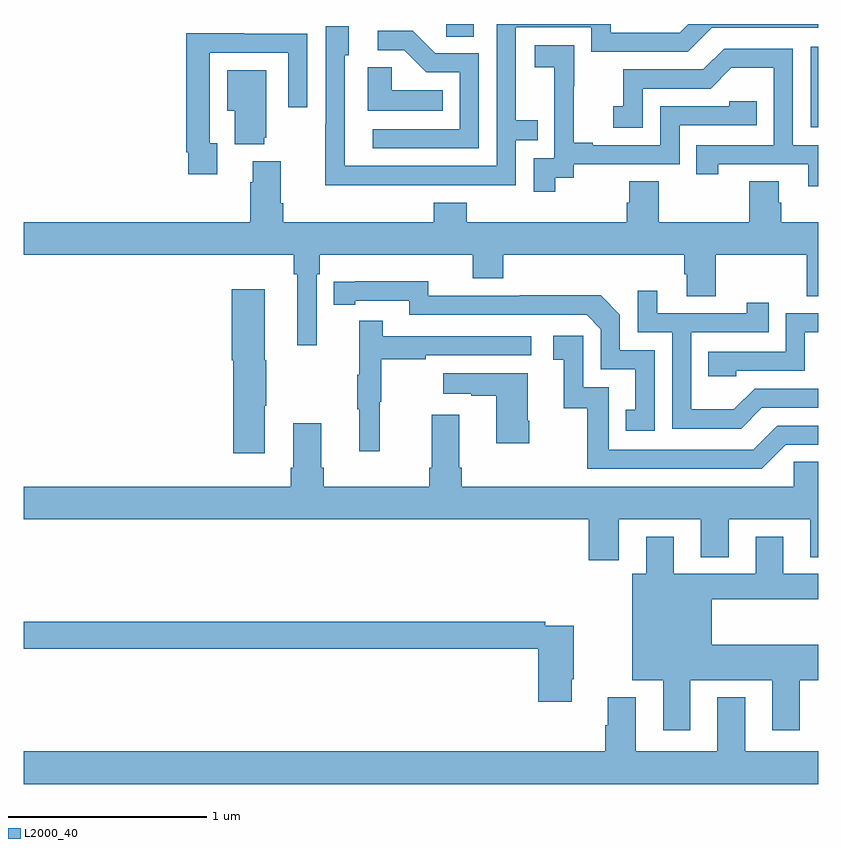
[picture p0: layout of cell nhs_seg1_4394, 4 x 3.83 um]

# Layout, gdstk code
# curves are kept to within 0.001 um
import gdstk
lib = gdstk.Library(unit=1e-6, precision=1e-09)
def R(c, l, rs):  # rectangles x0, y0, x1, y1
    for r in rs: c.add(gdstk.rectangle(r[:2], r[2:], *l))
def P(c, l, *ps):  # polygons
    for p in ps: c.add(gdstk.Polygon(p, *l))
L2000_40 = (2000, 40)

nhs_seg1_4394 = lib.new_cell('nhs_seg1_4394')
R(nhs_seg1_4394, L2000_40, [(352.962,581.679,353,582.085), (351.126,582.136,351.265,582.199)])
P(nhs_seg1_4394, L2000_40, [(350.981,581.388),(351.477,581.388),(351.477,581.613),(351.587,581.613),(351.587,581.714),(351.477,581.714),(351.477,582.183),(351.858,582.183),(351.858,582.06),(352.344,582.06),(352.464,582.18),(353,582.18),(353,582.199),(352.345,582.199),(352.302,582.156),(351.955,582.156),(351.955,582.199),(351.381,582.199),(351.381,581.484),(350.616,581.484),(350.616,582.042),(350.635,582.042),(350.635,582.187),(350.52,582.187),(350.52,581.693),(350.518,581.693),(350.518,581.387)],
  [(351.291,582.051),(351.072,582.051),(350.959,582.164),(350.781,582.164),(350.781,582.066),(350.915,582.066),(351.026,581.955),(351.195,581.955),(351.195,581.67),(350.757,581.67),(350.757,581.574),(351.291,581.574)],
  [(349.975,581.598),(349.935,581.598),(349.935,582.054),(350.331,582.054),(350.331,581.781),(350.427,581.781),(350.427,582.15),(350.111,582.15),(350.111,582.152),(349.819,582.152),(349.819,581.554),(349.827,581.554),(349.827,581.442),(349.975,581.442)],
  [(351.676,581.425),(351.768,581.425),(351.768,581.493),(352.302,581.493),(352.302,581.688),(352.691,581.688),(352.691,581.811),(352.551,581.811),(352.551,581.784),(352.206,581.784),(352.206,581.589),(351.865,581.589),(351.865,581.602),(351.77,581.602),(351.77,581.885),(351.771,581.885),(351.771,582.091),(351.573,582.091),(351.573,581.981),(351.671,581.981),(351.671,581.753),(351.672,581.753),(351.672,581.523),(351.567,581.523),(351.567,581.355),(351.676,581.355)],
  [(353,581.589),(352.872,581.589),(352.872,582.075),(352.526,582.075),(352.421,581.97),(352.018,581.97),(352.018,581.785),(351.969,581.785),(351.969,581.676),(352.116,581.676),(352.116,581.874),(352.458,581.874),(352.562,581.978),(352.776,581.978),(352.776,581.589),(352.387,581.589),(352.387,581.442),(352.498,581.442),(352.498,581.493),(352.949,581.493),(352.949,581.382),(353,581.382)],
  [(351.11,581.866),(350.853,581.866),(350.853,581.981),(350.732,581.981),(350.732,581.762),(351.11,581.762)],
  [(350.21,581.625),(350.221,581.625),(350.221,581.965),(350.024,581.965),(350.024,581.762),(350.063,581.762),(350.063,581.594),(350.21,581.594)],
  [(350.475,580.94),(350.489,580.94),(350.489,581.036),(351.26,581.036),(351.26,580.919),(351.413,580.919),(351.413,581.036),(352.325,581.036),(352.325,580.938),(352.337,580.938),(352.337,580.828),(352.485,580.828),(352.485,581.036),(352.942,581.036),(352.942,580.828),(353,580.828),(353,581.2),(352.814,581.2),(352.814,581.298),(352.801,581.298),(352.801,581.408),(352.654,581.408),(352.654,581.2),(352.197,581.2),(352.197,581.408),(352.049,581.408),(352.049,581.298),(352.037,581.298),(352.037,581.2),(351.23,581.2),(351.23,581.299),(351.065,581.299),(351.065,581.2),(350.306,581.2),(350.306,581.296),(350.293,581.296),(350.293,581.509),(350.153,581.509),(350.153,581.402),(350.141,581.402),(350.141,581.2),(349,581.2),(349,581.036),(350.359,581.036),(350.359,580.94),(350.378,580.94),(350.378,580.581),(350.475,580.581)],
  [(352.176,580.557),(352.002,580.557),(352.002,580.734),(351.904,580.832),(351.496,580.832),(351.496,580.83),(351.036,580.83),(351.036,580.903),(350.56,580.902),(350.56,580.786),(350.668,580.786),(350.668,580.806),(350.94,580.806),(350.94,580.734),(351.834,580.734),(351.906,580.662),(351.906,580.461),(352.079,580.461),(352.079,580.257),(352.03,580.257),(352.03,580.152),(352.176,580.152)],
  [(350.212,580.276),(350.22,580.276),(350.22,580.506),(350.212,580.506),(350.212,580.864),(350.048,580.864),(350.048,580.506),(350.054,580.506),(350.054,580.038),(350.212,580.038)],
  [(352.717,580.266),(353,580.266),(353,580.362),(352.68,580.362),(352.576,580.258),(352.362,580.258),(352.362,580.647),(352.751,580.647),(352.751,580.795),(352.64,580.795),(352.64,580.743),(352.189,580.743),(352.189,580.855),(352.092,580.855),(352.092,580.647),(352.266,580.647),(352.266,580.161),(352.612,580.161)],
  [(352.587,580.452),(352.932,580.452),(352.932,580.647),(353,580.647),(353,580.743),(352.836,580.743),(352.836,580.548),(352.447,580.548),(352.447,580.425),(352.587,580.425)],
  [(350.792,580.296),(350.8,580.296),(350.8,580.51),(351.023,580.51),(351.023,580.53),(351.556,580.53),(351.556,580.626),(350.807,580.626),(350.807,580.705),(350.69,580.705),(350.69,580.433),(350.679,580.433),(350.679,580.259),(350.69,580.259),(350.69,580.047),(350.792,580.047)],
  [(352.836,580.08),(353,580.08),(353,580.176),(352.794,580.176),(352.674,580.056),(351.945,580.056),(351.945,580.371),(351.816,580.371),(351.816,580.63),(351.666,580.63),(351.666,580.509),(351.719,580.509),(351.719,580.263),(351.837,580.263),(351.837,579.96),(352.716,579.96)],
  [(351.546,580.201),(351.538,580.201),(351.538,580.441),(351.111,580.441),(351.111,580.337),(351.254,580.337),(351.254,580.327),(351.38,580.327),(351.38,580.089),(351.546,580.089)],
  [(351.997,579.704),(352.409,579.704),(352.409,579.515),(352.549,579.515),(352.549,579.704),(352.961,579.704),(352.961,579.515),(353,579.515),(353,579.995),(352.878,579.995),(352.878,579.868),(351.206,579.868),(351.206,579.964),(351.193,579.964),(351.193,580.231),(351.053,580.231),(351.053,579.964),(351.041,579.964),(351.041,579.868),(350.51,579.868),(350.51,579.964),(350.497,579.964),(350.497,580.189),(350.357,580.189),(350.357,579.964),(350.345,579.964),(350.345,579.868),(349,579.868),(349,579.704),(351.845,579.704),(351.845,579.498),(351.997,579.498)],
  [(352.357,578.894),(352.769,578.894),(352.769,578.643),(352.906,578.643),(352.906,578.894),(353,578.894),(353,579.073),(352.465,579.073),(352.465,579.302),(353,579.302),(353,579.43),(352.825,579.43),(352.825,579.616),(352.685,579.616),(352.685,579.43),(352.273,579.43),(352.273,579.616),(352.133,579.616),(352.133,579.43),(352.064,579.43),(352.064,578.894),(352.22,578.894),(352.22,578.643),(352.357,578.643)],
  [(351.76,578.899),(351.768,578.899),(351.768,579.168),(351.626,579.168),(351.626,579.188),(349,579.188),(349,579.052),(351.59,579.052),(351.59,578.787),(351.76,578.787)],
  [(353,578.536),(352.633,578.536),(352.633,578.809),(352.493,578.809),(352.493,578.536),(352.081,578.536),(352.081,578.809),(351.941,578.809),(351.941,578.667),(351.929,578.667),(351.929,578.536),(349,578.536),(349,578.372),(353,578.372)])

lib.write_gds('nhs_seg1_4394.gds')
